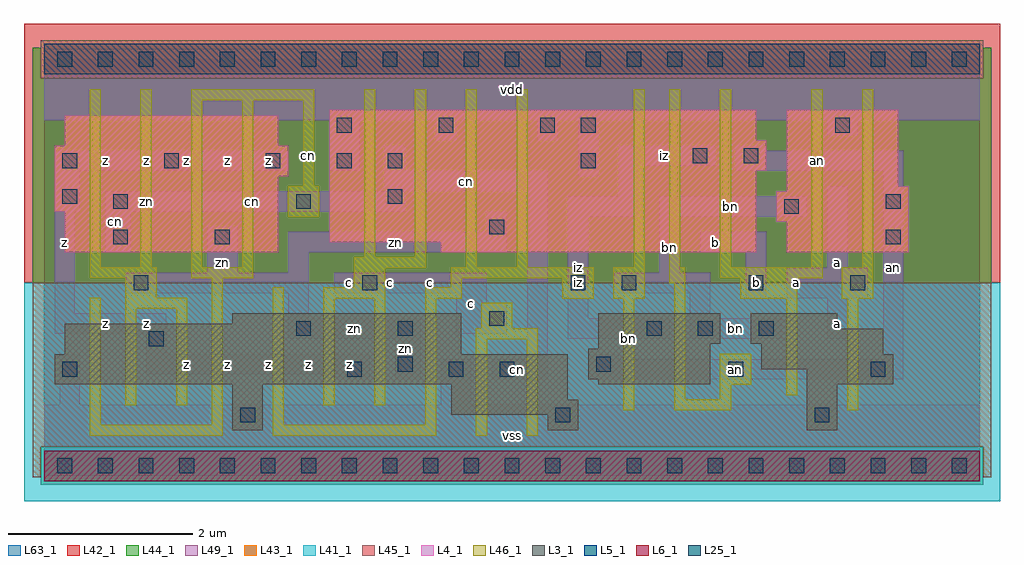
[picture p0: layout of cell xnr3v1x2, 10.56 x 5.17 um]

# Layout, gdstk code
import gdstk
lib = gdstk.Library(unit=1e-6, precision=1e-09)
def R(c, l, rs):  # rectangles x0, y0, x1, y1
    for r in rs: c.add(gdstk.rectangle(r[:2], r[2:], *l))
def A(c, l, x, y, w, h, nx, ny, dx, dy):  # array of equal rectangles
    R(c, l, [(x+i*dx, y+j*dy, x+i*dx+w, y+j*dy+h) for i in range(nx) for j in range(ny)])
L3_1 = (3, 1)
L4_1 = (4, 1)
L5_1 = (5, 1)
L6_1 = (6, 1)
L25_1 = (25, 1)
L41_1 = (41, 1)
L42_1 = (42, 1)
L43_1 = (43, 1)
L44_1 = (44, 1)
L45_1 = (45, 1)
L46_1 = (46, 1)
L49_1 = (49, 1)
L63_1 = (63, 1)

xnr3v1x2 = lib.new_cell('xnr3v1x2')
R(xnr3v1x2, L3_1, [(2.035,0.385,2.365,0.88), (5.445,0.385,5.775,0.55), (8.25,0.385,8.58,0.88), (4.4,0.55,5.775,0.715), (4.4,0.715,5.665,0.88), (0.11,0.88,5.665,1.21), (5.995,0.88,7.205,0.935), (8.25,0.88,9.185,1.045), (5.885,0.935,7.205,1.265), (7.755,1.045,9.185,1.21), (0.22,1.21,4.51,1.54), (7.755,1.21,9.075,1.32), (5.995,1.265,7.205,1.32), (5.995,1.32,7.315,1.65), (7.645,1.32,9.075,1.485), (7.645,1.485,8.58,1.65), (2.035,1.54,4.51,1.65)])
R(xnr3v1x2, L4_1, [(0.22,2.31,2.53,2.75), (4.29,2.31,7.7,2.42), (8.03,2.31,9.35,2.64), (3.08,2.42,7.7,3.19), (7.92,2.64,9.35,2.97), (0.11,2.75,2.53,3.135), (8.03,2.97,9.35,3.025), (8.03,3.025,9.24,3.85), (0.11,3.135,2.64,3.465), (3.08,3.19,7.81,3.52), (0.22,3.465,2.53,3.795), (3.08,3.52,7.7,3.85)])
R(xnr3v1x2, L5_1, [(0,4.235,10.12,4.565)])
R(xnr3v1x2, L6_1, [(0,-0.165,10.12,0.165)])
A(xnr3v1x2, L25_1, 0.14, -0.08, 0.16, 0.16, 23, 2, 0.44, 4.4)
A(xnr3v1x2, L25_1, 0.195, 3.22, 0.16, 0.16, 3, 1, 1.1, 0)
A(xnr3v1x2, L25_1, 3.165, 3.605, 0.16, 0.16, 3, 1, 1.1, 0)
R(xnr3v1x2, L25_1, [(2.12,0.47,2.28,0.63), (5.53,0.47,5.69,0.63), (8.335,0.47,8.495,0.63), (0.195,0.965,0.355,1.125), (3.275,0.965,3.435,1.125), (4.375,0.965,4.535,1.125), (4.925,0.965,5.085,1.125), (7.4,0.965,7.56,1.125), (8.94,0.965,9.1,1.125), (3.825,1.02,3.985,1.18), (5.97,1.02,6.13,1.18), (1.13,1.295,1.29,1.455), (2.725,1.405,2.885,1.565), (3.825,1.405,3.985,1.565), (6.52,1.405,6.68,1.565), (7.07,1.405,7.23,1.565), (7.73,1.405,7.89,1.565), (4.815,1.515,4.975,1.675), (0.965,1.9,1.125,2.06), (3.44,1.9,3.6,2.06), (5.695,1.9,5.855,2.06), (6.245,1.9,6.405,2.06), (7.62,1.9,7.78,2.06), (8.72,1.9,8.88,2.06), (0.745,2.395,0.905,2.555), (1.845,2.395,2.005,2.555), (9.105,2.395,9.265,2.555), (4.815,2.505,4.975,2.665), (8.005,2.725,8.165,2.885), (0.745,2.78,0.905,2.94), (2.725,2.78,2.885,2.94), (9.105,2.78,9.265,2.94), (0.195,2.835,0.355,2.995), (3.715,2.835,3.875,2.995), (3.165,3.22,3.325,3.38), (3.715,3.22,3.875,3.38), (5.805,3.22,5.965,3.38), (7.015,3.275,7.175,3.435), (7.565,3.275,7.725,3.435), (5.805,3.605,5.965,3.765), (8.555,3.605,8.715,3.765)])
R(xnr3v1x2, L41_1, [(-0.22,-0.385,10.34,1.98)])
R(xnr3v1x2, L42_1, [(-0.22,1.98,10.34,4.785)])
R(xnr3v1x2, L43_1, [(0,-0.165,10.12,0.165), (2.035,0.385,2.365,0.88), (5.445,0.385,5.775,0.55), (8.25,0.385,8.58,0.88), (4.4,0.55,5.775,0.715), (4.4,0.715,5.665,0.88), (0.11,0.88,5.665,1.21), (5.995,0.88,7.205,0.935), (8.25,0.88,9.185,1.045), (5.885,0.935,7.205,1.265), (7.755,1.045,9.185,1.21), (0.22,1.21,4.51,1.54), (7.755,1.21,9.075,1.32), (5.995,1.265,7.205,1.32), (5.995,1.32,7.315,1.65), (7.645,1.32,9.075,1.485), (7.645,1.485,8.58,1.65), (2.035,1.54,4.51,1.65), (0.22,2.31,2.53,2.75), (4.29,2.31,7.7,2.42), (8.03,2.31,9.35,2.64), (3.08,2.42,7.7,3.19), (7.92,2.64,9.35,2.97), (0.11,2.75,2.53,3.135), (8.03,2.97,9.35,3.025), (8.03,3.025,9.24,3.85), (0.11,3.135,2.64,3.465), (3.08,3.19,7.81,3.52), (0.22,3.465,2.53,3.795), (3.08,3.52,7.7,3.85), (0,4.235,10.12,4.565)])
R(xnr3v1x2, L44_1, [(-0.04,-0.205,10.16,0.205), (-0.125,1.98,10.245,4.195), (-0.125,4.195,-0.04,4.525), (10.16,4.195,10.245,4.525)])
R(xnr3v1x2, L45_1, [(-0.125,-0.125,-0.04,0.205), (10.16,-0.125,10.245,0.205), (-0.125,0.205,10.245,1.98), (-0.04,4.195,10.16,4.605)])
R(xnr3v1x2, L46_1, [(0.49,0.325,1.93,0.445), (2.47,0.325,4.24,0.445), (4.67,0.325,4.79,1.37), (5.22,0.325,5.34,1.37), (0.49,0.445,0.61,1.82), (1.81,0.445,1.93,2.03), (2.47,0.445,2.59,1.93), (4.12,0.445,4.24,1.81), (6.265,0.6,6.385,1.81), (6.815,0.6,7.43,0.72), (8.685,0.6,8.805,1.81), (0.875,0.655,0.995,1.7), (1.425,0.655,1.545,1.7), (3.02,0.655,3.14,1.81), (3.57,0.655,3.69,1.81), (6.815,0.72,6.935,1.975), (7.31,0.72,7.43,0.875), (8.025,0.765,8.145,1.81), (7.31,0.875,7.65,1.215), (4.67,1.37,5.34,1.49), (4.725,1.49,5.065,1.765), (0.875,1.7,1.545,1.82), (3.02,1.81,3.69,1.93), (4.12,1.81,4.515,1.93), (5.605,1.81,5.945,2.03), (6.155,1.81,6.495,2.15), (7.53,1.81,8.145,2.03), (8.63,1.81,8.97,2.15), (0.875,1.82,1.215,2.03), (3.35,1.93,3.69,2.14), (4.395,1.93,4.515,2.03), (6.76,1.975,6.935,2.15), (0.49,2.03,1.215,2.15), (1.59,2.03,2.26,2.15), (4.395,2.03,5.945,2.15), (7.31,2.03,8.42,2.15), (3.35,2.14,4.13,2.26), (0.49,2.15,0.61,4.075), (1.04,2.15,1.16,4.075), (1.59,2.15,1.71,3.955), (2.14,2.15,2.26,3.955), (4.56,2.15,4.68,4.075), (5.11,2.15,5.23,4.075), (6.375,2.15,6.495,4.075), (6.76,2.15,6.88,4.075), (7.31,2.15,7.43,4.075), (8.3,2.15,8.42,4.075), (8.85,2.15,8.97,4.075), (3.46,2.26,3.58,4.075), (4.01,2.26,4.13,4.075), (2.635,2.69,2.975,3.03), (2.8,3.03,2.92,3.955), (1.59,3.955,2.92,4.075)])
R(xnr3v1x2, L49_1, [(0,-0.11,10.12,0.66), (0.165,0.66,0.385,1.21), (4.29,0.66,4.62,1.155), (3.19,0.935,3.52,0.99), (3.795,0.935,4.07,1.375), (4.84,0.935,5.445,1.155), (5.885,0.935,9.295,1.155), (1.1,0.99,3.52,1.21), (5.225,1.155,5.445,2.97), (5.885,1.155,6.215,1.21), (9.075,1.155,9.295,3.19), (1.1,1.21,1.32,1.43), (2.64,1.375,4.07,1.595), (5.665,1.375,6.765,1.595), (6.985,1.375,7.975,1.595), (8.47,1.375,8.69,1.815), (0.11,1.43,1.32,1.65), (4.455,1.43,5.005,1.76), (2.64,1.595,2.86,1.87), (5.665,1.595,5.885,2.695), (6.985,1.595,7.205,1.87), (0.11,1.65,0.33,2.75), (4.455,1.76,4.785,1.87), (7.59,1.815,7.81,2.31), (8.03,1.815,8.91,2.145), (0.88,1.87,2.86,2.09), (3.135,1.87,4.785,2.09), (6.16,1.87,7.205,2.09), (1.76,2.09,2.09,2.585), (2.64,2.09,2.86,2.31), (6.655,2.09,6.875,2.695), (8.47,2.145,8.69,3.025), (0.66,2.31,0.935,2.75), (2.64,2.31,5.005,2.53), (7.095,2.31,7.81,2.53), (4.785,2.53,5.005,2.75), (5.665,2.695,6.435,2.915), (6.655,2.695,8.25,2.915), (0.11,2.75,0.385,3.19), (0.66,2.75,3.905,2.97), (6.215,2.915,6.435,3.245), (3.685,2.97,5.445,3.19), (5.775,3.135,5.995,3.74), (0.11,3.19,2.64,3.41), (3.08,3.19,3.41,3.74), (3.685,3.19,3.905,3.465), (7.48,3.19,9.295,3.41), (6.215,3.245,7.26,3.465), (7.48,3.41,7.81,3.465), (4.235,3.52,4.455,3.74), (5.335,3.52,5.555,3.74), (8.47,3.575,8.8,3.74), (0,3.74,10.12,4.51)])
R(xnr3v1x2, L63_1, [(0,0,10.12,4.4)])
xnr3v1x2.add(gdstk.Label('zn', (1.1,2.86), layer=46, texttype=1))
xnr3v1x2.add(gdstk.Label('cn', (2.86,3.355), layer=46, texttype=1))
xnr3v1x2.add(gdstk.Label('bn', (6.325,1.375), layer=46, texttype=1))
xnr3v1x2.add(gdstk.Label('iz', (5.775,1.98), layer=49, texttype=1))
xnr3v1x2.add(gdstk.Label('an', (7.48,1.045), layer=49, texttype=1))
xnr3v1x2.add(gdstk.Label('z', (0.66,1.54), layer=49, texttype=1))
xnr3v1x2.add(gdstk.Label('z', (1.1,1.54), layer=49, texttype=1))
xnr3v1x2.add(gdstk.Label('z', (0.22,2.42), layer=49, texttype=1))
xnr3v1x2.add(gdstk.Label('cn', (0.77,2.64), layer=49, texttype=1))
xnr3v1x2.add(gdstk.Label('z', (1.1,3.3), layer=49, texttype=1))
xnr3v1x2.add(gdstk.Label('z', (0.66,3.3), layer=49, texttype=1))
xnr3v1x2.add(gdstk.Label('z', (1.54,1.1), layer=49, texttype=1))
xnr3v1x2.add(gdstk.Label('z', (2.86,1.1), layer=49, texttype=1))
xnr3v1x2.add(gdstk.Label('z', (2.42,1.1), layer=49, texttype=1))
xnr3v1x2.add(gdstk.Label('z', (1.98,1.1), layer=49, texttype=1))
xnr3v1x2.add(gdstk.Label('zn', (1.925,2.2), layer=49, texttype=1))
xnr3v1x2.add(gdstk.Label('z', (1.54,3.3), layer=49, texttype=1))
xnr3v1x2.add(gdstk.Label('z', (2.42,3.3), layer=49, texttype=1))
xnr3v1x2.add(gdstk.Label('z', (1.98,3.3), layer=49, texttype=1))
xnr3v1x2.add(gdstk.Label('z', (3.3,1.1), layer=49, texttype=1))
xnr3v1x2.add(gdstk.Label('zn', (3.905,1.265), layer=49, texttype=1))
xnr3v1x2.add(gdstk.Label('zn', (3.355,1.485), layer=49, texttype=1))
xnr3v1x2.add(gdstk.Label('c', (3.3,1.98), layer=49, texttype=1))
xnr3v1x2.add(gdstk.Label('c', (4.18,1.98), layer=49, texttype=1))
xnr3v1x2.add(gdstk.Label('c', (4.62,1.76), layer=49, texttype=1))
xnr3v1x2.add(gdstk.Label('c', (3.74,1.98), layer=49, texttype=1))
xnr3v1x2.add(gdstk.Label('zn', (3.795,2.42), layer=49, texttype=1))
xnr3v1x2.add(gdstk.Label('cn', (2.255,2.86), layer=49, texttype=1))
xnr3v1x2.add(gdstk.Label('vss', (5.06,0.33), layer=49, texttype=1))
xnr3v1x2.add(gdstk.Label('cn', (5.115,1.045), layer=49, texttype=1))
xnr3v1x2.add(gdstk.Label('iz', (5.775,2.145), layer=49, texttype=1))
xnr3v1x2.add(gdstk.Label('cn', (4.565,3.08), layer=49, texttype=1))
xnr3v1x2.add(gdstk.Label('vdd', (5.06,4.07), layer=49, texttype=1))
xnr3v1x2.add(gdstk.Label('bn', (7.48,1.485), layer=49, texttype=1))
xnr3v1x2.add(gdstk.Label('iz', (6.215,1.485), layer=49, texttype=1))
xnr3v1x2.add(gdstk.Label('a', (8.14,1.98), layer=49, texttype=1))
xnr3v1x2.add(gdstk.Label('b', (7.7,1.98), layer=49, texttype=1))
xnr3v1x2.add(gdstk.Label('b', (7.26,2.42), layer=49, texttype=1))
xnr3v1x2.add(gdstk.Label('bn', (6.765,2.365), layer=49, texttype=1))
xnr3v1x2.add(gdstk.Label('bn', (7.425,2.805), layer=49, texttype=1))
xnr3v1x2.add(gdstk.Label('iz', (6.71,3.355), layer=49, texttype=1))
xnr3v1x2.add(gdstk.Label('an', (7.59,1.045), layer=49, texttype=1))
xnr3v1x2.add(gdstk.Label('a', (8.58,1.54), layer=49, texttype=1))
xnr3v1x2.add(gdstk.Label('a', (8.58,2.2), layer=49, texttype=1))
xnr3v1x2.add(gdstk.Label('an', (9.185,2.145), layer=49, texttype=1))
xnr3v1x2.add(gdstk.Label('an', (8.36,3.3), layer=49, texttype=1))

lib.write_gds('xnr3v1x2.gds')
